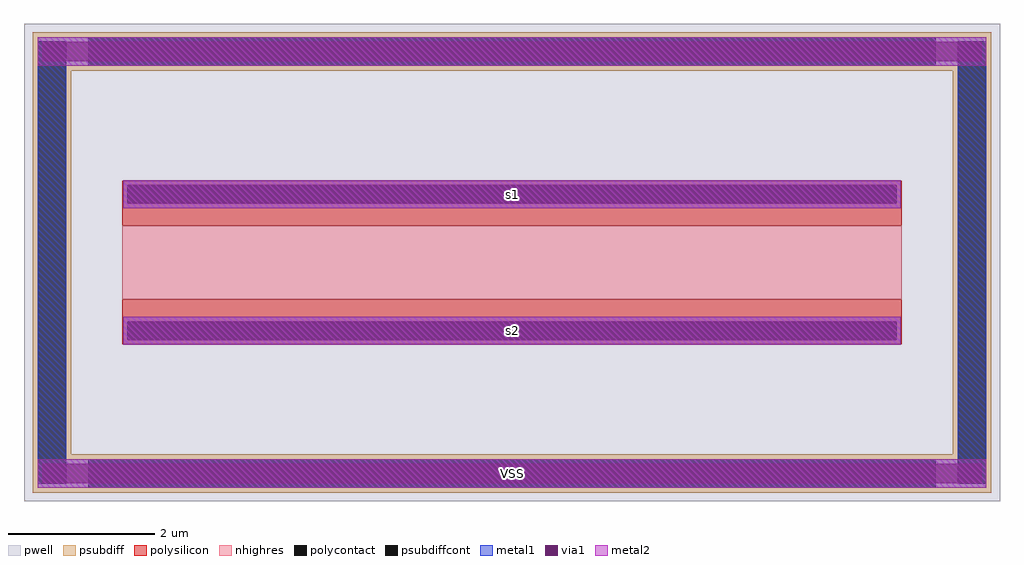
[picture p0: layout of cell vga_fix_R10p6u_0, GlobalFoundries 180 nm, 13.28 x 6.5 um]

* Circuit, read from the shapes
.subckt vga_fix_R10p6u_0 s2 s1 VSS
XR1 s1 s2 VSS ppolyf_u_1k r_width=10.6u r_length=1u
.ends

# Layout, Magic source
magic
tech gf180mcuD
magscale 1 10
<< pwell >>
rect -1328 -464 1328 836
<< psubdiff >>
rect -1304 -440 1304 -336
rect -1304 708 1304 812
rect -1304 -336 -1200 708
rect 1200 -336 1304 708
<< polysilicon >>
rect -1060 286 1060 408
rect -1060 -36 1060 86
<< nhighres >>
rect -1060 86 1060 286
<< psubdiffcont >>
rect -1291 -416 -1213 788
rect 1213 -416 1291 788
rect -1153 721 1153 799
rect -1153 -427 1153 -349
<< polycontact >>
rect -1047 349 1047 395
rect -1047 -23 1047 23
<< metal1 >>
rect -1058 349 1058 395
rect -1058 -23 1058 23
rect -1058 -38 1058 38
rect -1058 334 1058 410
rect -1291 -427 1291 -349
rect -1291 721 1291 799
rect -1291 -427 -1213 799
rect 1213 -427 1291 799
rect -1291 -427 1291 -349
rect -1291 721 1291 799
<< metal2 >>
rect -1058 -38 1058 38
rect -1058 334 1058 410
rect -1291 -427 1291 -349
rect -1291 721 1291 799
<< via1 >>
rect -1046 -26 1046 26
rect -1046 346 1046 398
rect -1279 -415 1279 -361
rect -1279 733 1279 787
<< labels >>
flabel metal2 s -1058 -38 1058 38 0 FreeSans 80 0 0 0 s2
port 1 nsew signal bidirectional
flabel metal2 s -1058 334 1058 410 0 FreeSans 80 0 0 0 s1
port 2 nsew signal bidirectional
flabel metal2 s -1291 -427 1291 -349 0 FreeSans 80 0 0 0 VSS
port 3 nsew signal bidirectional
<< end >>
